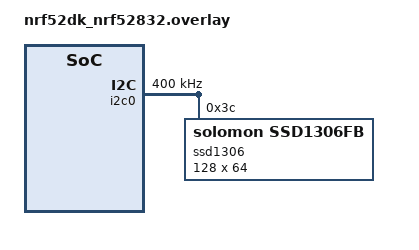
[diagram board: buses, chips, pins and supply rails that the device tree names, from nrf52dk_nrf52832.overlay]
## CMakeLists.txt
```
cmake_minimum_required(VERSION 3.20.0)
set(BOARD nrf52dk_nrf52832)

add_compile_options(-Wall)

find_package(Zephyr REQUIRED HINTS $ENV{ZEPHYR_BASE})
project(CE_recruitment)

include_directories(inc)
include_directories(vl6180_API/inc)
include_directories(vl6180_API/cci-i2c)

target_sources(app PRIVATE
		src/main.c
#		src/blinkThread.c
		src/displayThread.c
		src/oledDisplay.c
		src/fadingLed.c
		src/measThread.c
		vl6180_API/src/vl6180x_api.c
		vl6180_API/cci-i2c/vl6180x_i2c.c
		src/rangeMeter.c
)
```

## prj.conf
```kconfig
# blinking LED
CONFIG_GPIO=y

# fading LED
CONFIG_PWM=y

# LOG functions
CONFIG_LOG=y
CONFIG_LOG_MAX_LEVEL=3

# printk()
CONFIG_PRINTK=y

# using I2C bus on MCU (used for SSD1306)
CONFIG_I2C=y

# using SSD1306 itself
CONFIG_DISPLAY=y
CONFIG_SSD1306=y
CONFIG_SSD1306_DEFAULT=y
CONFIG_SSD1306_DEFAULT_CONTRAST=32
CONFIG_CHARACTER_FRAMEBUFFER=y
CONFIG_CBPRINTF_LIBC_SUBSTS=y

CONFIG_HEAP_MEM_POOL_SIZE=2048
```

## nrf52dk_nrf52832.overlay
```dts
&i2c0 {
	clock-frequency = <0x61A80>;
	ssd1306: ssd1306@3c {
		compatible = "solomon,ssd1306fb";
		reg = <0x3c>;
		height = <64>;
		width = <128>;
		segment-offset = <0>;
		page-offset = <0>;
		display-offset = <0>;
		multiplex-ratio = <63>;
		prechargep = <0x22>;
	};
};
```

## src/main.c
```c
#include <zephyr/kernel.h>

#include "displayThread.h"
#include "measThread.h"
#include "dataQueue.h"

K_FIFO_DEFINE(rangeDataFifo);

K_THREAD_DEFINE(measThread_id, MEAS_THREAD_STACKSIZE,
				measThread_entry, NULL, NULL, NULL,
				MEAS_THREAD_PIORITY, 0, 0);

K_THREAD_DEFINE(displayThread_id, DISPLAY_THREAD_STACKSIZE,
				displayThread_entry, NULL, NULL, NULL,
				DISPLAY_THREAD_PIORITY, 0, 0);
```

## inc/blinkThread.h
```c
#ifndef __BLINK_THREAD_H
#define __BLINK_THREAD_H

#define BLINK_THREAD_STACKSIZE		1024
#define BLINK_THREAD_PIORITY		5

void blinkThread_entry(void);

#endif /* __BLINK_THREAD_H */
```

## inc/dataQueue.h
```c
#ifndef __DATA_QUEUE_H
#define __DATA_QUEUE_H

#include <zephyr/kernel.h>

/* node for VL6180x FIFO queue that will hold measurement data */
struct rangeDataFifoNode_t
{
	void *fifo_reserved;	// Zephyr RTOS mandatory field, 4B size
	int32_t rangeMeas;		// range data value in [mm]
	uint32_t rangeError;	// range data read error (0 on success)
	uint32_t alsMeas;		// als data value [lux]
	uint32_t alsError;		// als data read error (0 on success)
	int32_t initError;		// VL6180x initialization error (0 on success)
};

extern struct k_fifo rangeDataFifo;


#endif /* __DATA_QUEUE_H */
```

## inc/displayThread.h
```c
#ifndef __DISPLAY_THREAD_H
#define __DISPLAY_THREAD_H

#define DISPLAY_THREAD_STACKSIZE	1024
#define DISPLAY_THREAD_PIORITY		5

void displayThread_entry(void);

#endif /* __DISPLAY_THREAD_H */
```

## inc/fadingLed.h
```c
#ifndef __FADING_LED_H
#define __FADING_LED_H

int fadingLed_init();
void fadingLed_showRange(int32_t range_mm, uint32_t errorCode);
void fadingLed_test();

#endif /* __FADING_LED_H */
```

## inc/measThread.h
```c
#ifndef __MEAS_THREAD_H
#define __MEAS_THREAD_H

#define MEAS_THREAD_STACKSIZE	1024
#define MEAS_THREAD_PIORITY		4

void measThread_entry(void);

#endif /* __MEAS_THREAD_H */
```

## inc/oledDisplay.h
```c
#ifndef __OLED_DISPLAY_H
#define __OLED_DISPLAY_H

int oledDisplay_init(void);
void oledDisplay_clear(void);
void oledDisplay_update(void);
void oledDisplay_showRange(int32_t range_mm, uint32_t errorCode);
void oledDisplay_showAls(uint32_t lux, uint32_t errorCode);
void oledDisplay_showInitError(void);
void oledDisplay_test(void);

#endif /* __OLED_DISPLAY_H */
```

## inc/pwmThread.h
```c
#define PWM_THREAD_STACKSIZE	1024
#define PWM_THREAD_PIORITY		5

void pwmThread_entry(void);
```

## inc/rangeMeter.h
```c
#ifndef __RANGE_METER_H
#define __RANGE_METER_H

#include "vl6180x_api.h"

int rangemeter_init();
void rangemeter_rangeMeas(VL6180x_RangeData_t *rangeData);
void rangemeter_alsMeas(VL6180x_AlsData_t *alsData);

#endif /* __RANGE_METER_H */
```

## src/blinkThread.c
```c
#include <zephyr/kernel.h>
#include <zephyr/drivers/gpio.h>
#include <zephyr/logging/log.h>

#include "blinkThread.h"

#define TEST_SLEEP_MSEC		3000

LOG_MODULE_REGISTER(blinkngLED);

/* build error on this step means there is no driver for PWM on LED1 for this board */
static const struct gpio_dt_spec led1 = GPIO_DT_SPEC_GET(DT_ALIAS(led1), gpios);

static int blinkLed_init(void);
static void blinkLed_test(void);

void blinkThread_entry(void)
{
	if(blinkLed_init())
	{
		k_sleep(K_FOREVER);
	}

	blinkLed_test();
}

static int blinkLed_init(void)
{
	if (!gpio_is_ready_dt(&led1)) {
		LOG_ERR("GPIO for LED1 is not ready");
		return -1;
	}
	if (gpio_pin_configure_dt(&led1, GPIO_OUTPUT_ACTIVE) < 0) {
		LOG_ERR("Cannot active GPIO for LED1");
		return -1;
	}
	LOG_INF("LED1 initialized successfully");

	return 0;
}

static void blinkLed_test(void)
{
	while (1) {
		if (gpio_pin_toggle_dt(&led1))
		{
			LOG_ERR("Cannot toggle GPIO state for LED1");
			k_sleep(K_FOREVER);
		}
		k_msleep(TEST_SLEEP_MSEC);
	}
}
```

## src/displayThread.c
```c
#include <zephyr/kernel.h>
#include <zephyr/drivers/pwm.h>
#include <zephyr/logging/log.h>

#include "displayThread.h"
#include "fadingLed.h"
#include "oledDisplay.h"
#include "dataQueue.h"

LOG_MODULE_REGISTER(displayThread, LOG_LEVEL_DBG);

/* This thread is controlling displaying data taken from measurements */
void displayThread_entry(void)
{
	if(fadingLed_init())
	{
		k_sleep(K_FOREVER);
	}
	LOG_INF("Fading LED initialized");

	if(oledDisplay_init())
	{
		k_sleep(K_FOREVER);
	}
	LOG_INF("Display initialized");

	struct rangeDataFifoNode_t *dataBuff;
	while(1)
	{
		dataBuff = k_fifo_get(&rangeDataFifo, K_FOREVER);
		if(dataBuff->initError)
		{
			oledDisplay_clear();
			oledDisplay_showInitError();
			oledDisplay_update();
			LOG_ERR("VL6180x init error");
		}
		else
		{
			oledDisplay_clear();
			oledDisplay_showRange(dataBuff->rangeMeas, dataBuff->rangeError);
			oledDisplay_showAls(dataBuff->alsMeas, dataBuff->alsError);
			oledDisplay_update();
			fadingLed_showRange(dataBuff->rangeMeas, dataBuff->rangeError);
			LOG_DBG("R: %d %u; A: %u %u",
					dataBuff->rangeMeas,
					dataBuff->rangeError,
					dataBuff->alsMeas,
					dataBuff->alsError);
		}
		k_free(dataBuff);
	}
}
```

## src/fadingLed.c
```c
#include <zephyr/kernel.h>
#include <zephyr/drivers/pwm.h>
#include <zephyr/logging/log.h>

#include "fadingLed.h"

#define TEST_NUM_STEPS		100U
#define TEST_SLEEP_MSEC		20U

#define RANGE_MEAS_NUM_STEPS	200		// Maximum range_mm value possible for VL6180x

#define PWM_DIRECTION_BRIGHTEN	1U
#define PWM_DIRECTION_DARKEN	0U

LOG_MODULE_REGISTER(fadingLed);

/* Build error on this step means there is no driver for PWM on LED0 for this board */
static const struct pwm_dt_spec pwm_led0 = PWM_DT_SPEC_GET(DT_ALIAS(pwm_led0));

static uint32_t pulseWidth;
static uint32_t step;
static uint8_t direction = PWM_DIRECTION_BRIGHTEN;

int fadingLed_init()
{
	if(!device_is_ready(pwm_led0.dev))
	{
		LOG_ERR("PWM fading led is not ready");
		return -1;
	}
	return 0;
}

void fadingLed_showRange(int32_t range_mm, uint32_t errorCode)
{
	pulseWidth = 0;
	if(errorCode)
	{
		if (pwm_set_pulse_dt(&pwm_led0, pulseWidth))
		{
			LOG_ERR("Cannot set PWM width value to fading LED");
		}
		return;
	}

	step = pwm_led0.period / RANGE_MEAS_NUM_STEPS;
	pulseWidth = (RANGE_MEAS_NUM_STEPS - range_mm) * step;

	if (pwm_set_pulse_dt(&pwm_led0, pulseWidth))
	{
		LOG_ERR("Cannot set PWM width value to fading LED");
	}
}

void fadingLed_test()
{
	pulseWidth = 0;
	step = pwm_led0.period / TEST_NUM_STEPS;

	while(1)
	{
		if (pwm_set_pulse_dt(&pwm_led0, pulseWidth))
		{
			LOG_ERR("Cannot set PWM width value to fading LED");
			k_sleep(K_FOREVER);
		}

		/* increase pulse width */
		if(direction == PWM_DIRECTION_BRIGHTEN)
		{
			pulseWidth += step;
			if(pulseWidth >= pwm_led0.period)
			{
				pulseWidth = pwm_led0.period;
				direction = PWM_DIRECTION_DARKEN;
			}
		}
		/* decrease pulse width */
		else
		{
			if(pulseWidth >= step)
			{
				pulseWidth -= step;
			}
			else
			{
				pulseWidth = step;
				direction = PWM_DIRECTION_BRIGHTEN;
			}
		}
		k_msleep(TEST_SLEEP_MSEC);
	}
}
```

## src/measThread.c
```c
#include <zephyr/kernel.h>
#include <zephyr/drivers/i2c.h>
#include <zephyr/logging/log.h>

#include "measThread.h"
#include "rangeMeter.h"
#include "dataQueue.h"

static const struct device *i2c_dev = DEVICE_DT_GET(DT_NODELABEL(i2c0));

LOG_MODULE_REGISTER(measThread, LOG_LEVEL_DBG);

void measThread_entry(void)
{
	struct rangeDataFifoNode_t rangeDataQNode = {0};
	struct rangeDataFifoNode_t *dataBuff = NULL;

	if(i2c_dev == NULL || !device_is_ready(i2c_dev))
	{
		LOG_ERR("i2c bus is not ready");
		dataBuff = k_malloc(sizeof(struct rangeDataFifoNode_t));
		__ASSERT_NO_MSG(dataBuff != NULL);
		rangeDataQNode.initError = -1;
		memcpy(dataBuff, &rangeDataQNode, sizeof(struct rangeDataFifoNode_t));
		k_fifo_put(&rangeDataFifo, dataBuff);
		k_sleep(K_FOREVER);
	}

	k_msleep(100);

	if(rangemeter_init())
	{
		LOG_ERR("vl6180x init error occured");
		dataBuff = k_malloc(sizeof(struct rangeDataFifoNode_t));
		__ASSERT_NO_MSG(dataBuff != NULL);
		rangeDataQNode.initError = -1;
		memcpy(dataBuff, &rangeDataQNode, sizeof(struct rangeDataFifoNode_t));
		k_fifo_put(&rangeDataFifo, dataBuff);
		k_sleep(K_FOREVER);
	}
	LOG_INF("measThread initialized");

	dataBuff = NULL;
	VL6180x_RangeData_t rangeData;
	VL6180x_AlsData_t alsData;

	while(1)
	{
		rangemeter_rangeMeas(&rangeData);
		rangemeter_alsMeas(&alsData);

		
		LOG_DBG("R: %d %u; A: %u %u",
				rangeData.range_mm,
				rangeData.errorStatus,
				alsData.lux,
				alsData.errorStatus);
		

		/* add measurements to FIFO */
		dataBuff = k_malloc(sizeof(struct rangeDataFifoNode_t));
		__ASSERT_NO_MSG(dataBuff != NULL);
		rangeDataQNode.rangeMeas = rangeData.range_mm;
		rangeDataQNode.rangeError = rangeData.errorStatus;
		rangeDataQNode.alsMeas = alsData.lux;
		rangeDataQNode.alsError = alsData.errorStatus;
		memcpy(dataBuff, &rangeDataQNode, sizeof(struct rangeDataFifoNode_t));
		k_fifo_put(&rangeDataFifo, dataBuff);

		k_msleep(100);
	}
}
```
